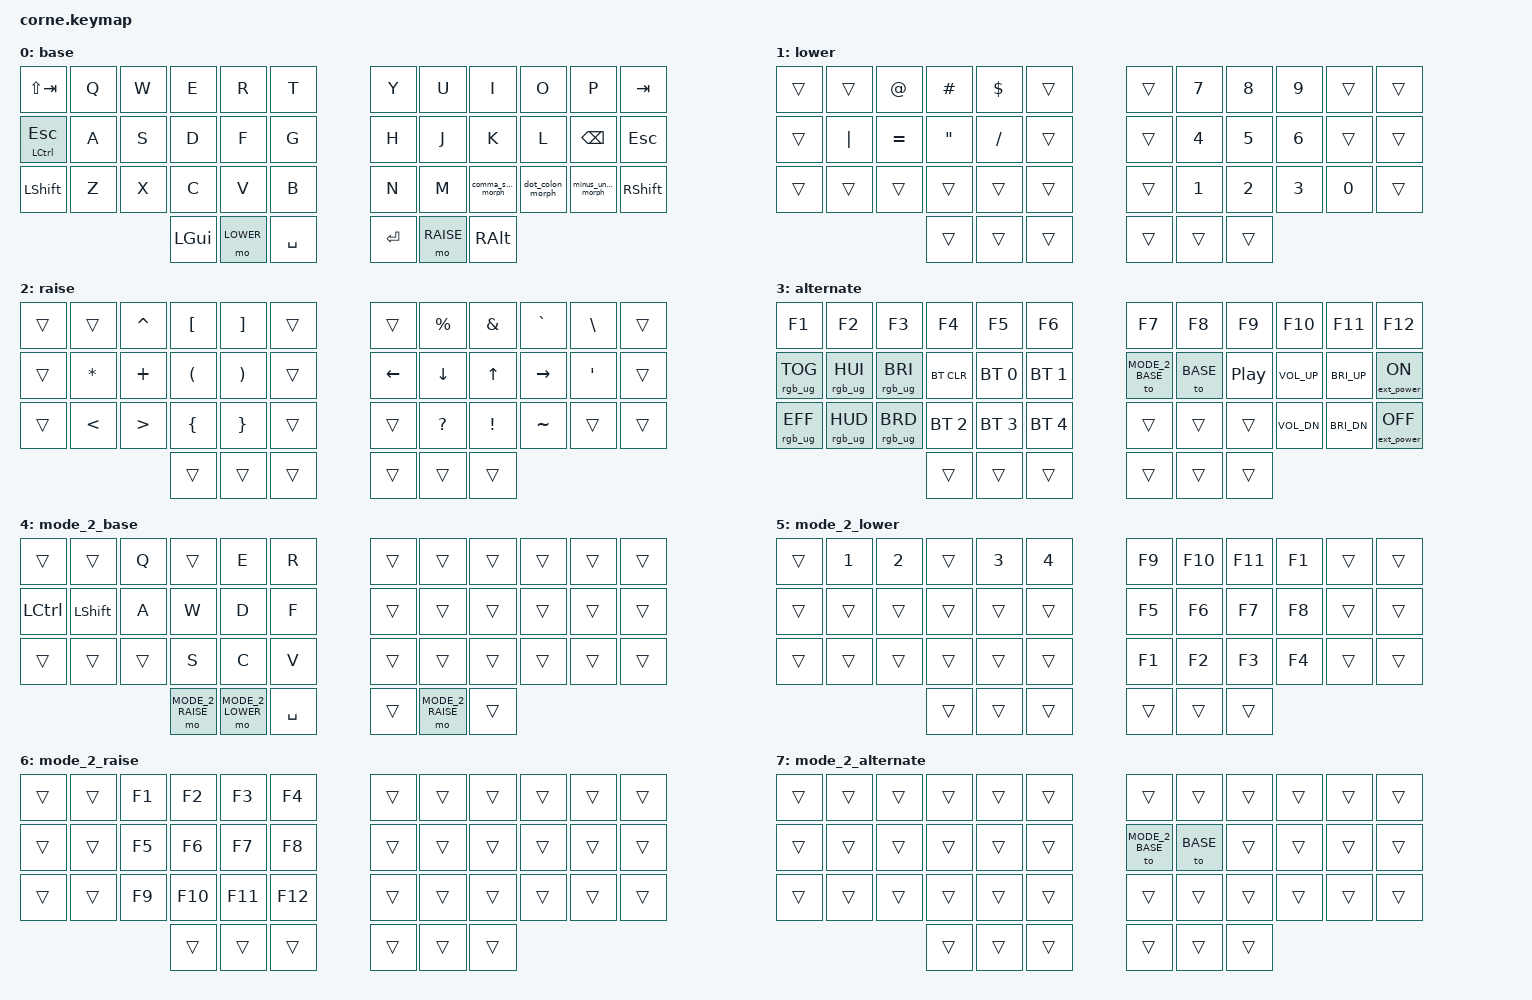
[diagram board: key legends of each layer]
#include <behaviors.dtsi>
#include <dt-bindings/zmk/keys.h>
#include <dt-bindings/zmk/bt.h>
#include <dt-bindings/zmk/outputs.h>
#include <dt-bindings/zmk/rgb.h>
#include <dt-bindings/zmk/ext_power.h>
#include <dt-bindings/zmk/modifiers.h>

#define BASE 0
#define LOWER 1
#define RAISE 2
#define ADJUST 3
#define MODE_2_BASE 4
#define MODE_2_LOWER 5
#define MODE_2_RAISE 6
#define MODE_2_ALTERNATE 7

/ {
    behaviors {
        ctrl_esc: ctrl_esc {
            compatible = "zmk,behavior-hold-tap";
            #binding-cells = <2>;
            flavor = "hold-preferred";
            tapping-term-ms = <200>;
            bindings = <&kp>, <&kp>;
        };

        dot_colon_morph: dot_colon_morph {
            compatible = "zmk,behavior-mod-morph";
            #binding-cells = <0>;
            bindings = <&kp DOT>, <&kp COLON>;
            mods = <(MOD_LSFT|MOD_RSFT)>;
        };

        minus_under_morph: minus_under_morph {
            compatible = "zmk,behavior-mod-morph";
            #binding-cells = <0>;
            bindings = <&kp MINUS>, <&kp UNDER>;
            mods = <(MOD_LSFT|MOD_RSFT)>;
        };

        comma_semi_morph: comma_semi_morph {
            compatible = "zmk,behavior-mod-morph";
            #binding-cells = <0>;
            bindings = <&kp COMMA>, <&kp SEMI>;
            mods = <(MOD_LSFT|MOD_RSFT)>;
        };
    };

    conditional_layers {
        compatible = "zmk,conditional-layers";

        lower_raise_adjust_default {
            if-layers = <LOWER RAISE>;
            then-layer = <ADJUST>;
        };

        lower_raise_adjust_mode_2 {
            if-layers = <MODE_2_LOWER MODE_2_RAISE>;
            then-layer = <MODE_2_ALTERNATE>;
        };
    };

    keymap {
        compatible = "zmk,keymap";

        base {
                bindings = <
                    &kp LS(TAB)  &kp Q  &kp W  &kp E  &kp R  &kp T  &kp Y  &kp U  &kp I  &kp O  &kp P  &kp TAB
                    &ctrl_esc LCTRL ESC  &kp A  &kp S  &kp D  &kp F  &kp G  &kp H  &kp J  &kp K  &kp L  &kp BSPC  &kp ESC
                    &kp LSHFT  &kp Z  &kp X  &kp C  &kp V  &kp B  &kp N  &kp M  &comma_semi_morph  &dot_colon_morph  &minus_under_morph  &kp RSHFT
                    &kp LGUI  &mo LOWER  &kp SPACE  &kp RET  &mo RAISE  &kp RALT
                >;
            };

        lower {
                bindings = <
                    &trans  &trans  &kp AT  &kp HASH  &kp DLLR  &trans  &trans  &kp N7  &kp N8  &kp N9  &trans  &trans
                    &trans  &kp PIPE  &kp EQUAL  &kp DQT  &kp SLASH  &trans  &trans  &kp N4  &kp N5  &kp N6  &trans  &trans
                    &trans  &trans  &trans  &trans  &trans  &trans  &trans  &kp N1  &kp N2  &kp N3  &kp N0  &trans
                    &trans  &trans  &trans  &trans  &trans  &trans
                >;
            };

        raise {
                bindings = <
                    &trans  &trans  &kp CARET  &kp LBKT  &kp RBKT  &trans  &trans  &kp PRCNT  &kp AMPS  &kp GRAVE  &kp BSLH  &trans
                    &trans  &kp ASTRK  &kp PLUS  &kp LPAR  &kp RPAR  &trans  &kp LEFT  &kp DOWN  &kp UP  &kp RIGHT  &kp SQT  &trans
                    &trans  &kp LT  &kp GT  &kp LBRC  &kp RBRC  &trans  &trans  &kp QMARK  &kp EXCL  &kp TILDE  &trans  &trans
                    &trans  &trans  &trans  &trans  &trans  &trans
                >;
            };

        alternate {
                bindings = <
                    &kp F1  &kp F2  &kp F3  &kp F4  &kp F5  &kp F6  &kp F7  &kp F8  &kp F9  &kp F10  &kp F11  &kp F12
                    &rgb_ug RGB_TOG  &rgb_ug RGB_HUI  &rgb_ug RGB_BRI  &bt BT_CLR  &bt BT_SEL 0  &bt BT_SEL 1  &to MODE_2_BASE  &to BASE  &kp C_PP  &kp C_VOL_UP  &kp C_BRI_UP  &ext_power EP_ON
                    &rgb_ug RGB_EFF  &rgb_ug RGB_HUD  &rgb_ug RGB_BRD  &bt BT_SEL 2  &bt BT_SEL 3  &bt BT_SEL 4  &trans  &trans  &trans  &kp C_VOL_DN  &kp C_BRI_DN  &ext_power EP_OFF
                    &trans  &trans  &trans  &trans  &trans  &trans
                >;
            };

        mode_2_base {
                bindings = <
                    &trans  &trans  &kp Q  &trans  &kp E  &kp R  &trans  &trans  &trans  &trans  &trans  &trans
                    &kp LCTRL  &kp LSHFT  &kp A  &kp W  &kp D  &kp F  &trans  &trans  &trans  &trans  &trans  &trans
                    &trans  &trans  &trans  &kp S  &kp C  &kp V  &trans  &trans  &trans  &trans  &trans  &trans
                    &mo MODE_2_RAISE  &mo MODE_2_LOWER  &kp SPACE  &trans  &mo MODE_2_RAISE  &trans
                >;
            };

        mode_2_lower {
                bindings = <
                    &trans  &kp N1  &kp N2  &trans  &kp N3  &kp N4  &kp F9  &kp F10  &kp F11  &kp F1  &trans  &trans
                    &trans  &trans  &trans  &trans  &trans  &trans  &kp F5  &kp F6  &kp F7  &kp F8  &trans  &trans
                    &trans  &trans  &trans  &trans  &trans  &trans  &kp F1  &kp F2  &kp F3  &kp F4  &trans  &trans
                    &trans  &trans  &trans  &trans  &trans  &trans
                >;
            };

        mode_2_raise {
                bindings = <
                    &trans  &trans  &kp F1  &kp F2  &kp F3  &kp F4  &trans  &trans  &trans  &trans  &trans  &trans
                    &trans  &trans  &kp F5  &kp F6  &kp F7  &kp F8  &trans  &trans  &trans  &trans  &trans  &trans
                    &trans  &trans  &kp F9  &kp F10  &kp F11  &kp F12  &trans  &trans  &trans  &trans  &trans  &trans
                    &trans  &trans  &trans  &trans  &trans  &trans
                >;
            };

        mode_2_alternate {
                bindings = <
                    &trans  &trans  &trans  &trans  &trans  &trans  &trans  &trans  &trans  &trans  &trans  &trans
                    &trans  &trans  &trans  &trans  &trans  &trans  &to MODE_2_BASE  &to BASE  &trans  &trans  &trans  &trans
                    &trans  &trans  &trans  &trans  &trans  &trans  &trans  &trans  &trans  &trans  &trans  &trans
                    &trans  &trans  &trans  &trans  &trans  &trans
                >;
            };
    };
};

&led_strip {
    chain-length = <27>;
};
